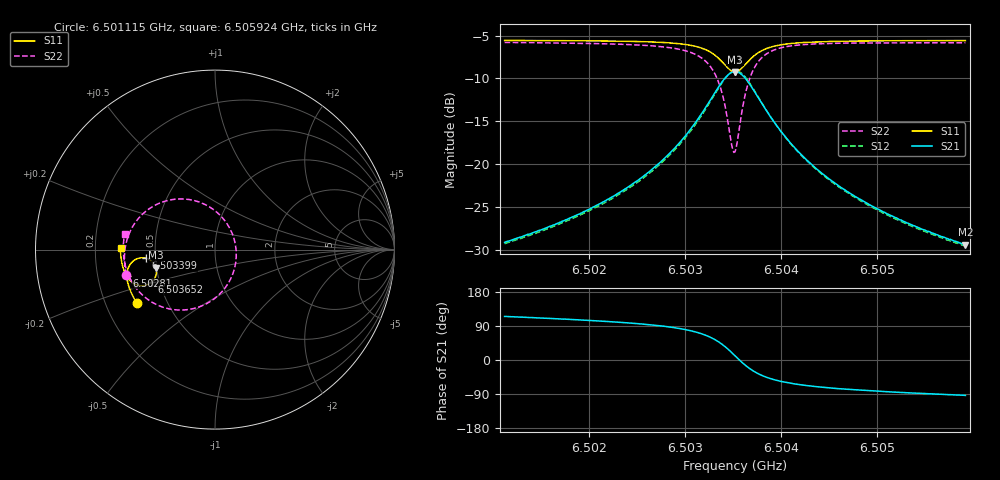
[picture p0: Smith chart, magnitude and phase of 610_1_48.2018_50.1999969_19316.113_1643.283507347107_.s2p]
#  HZ  S  RI  R  50.00
! Rohde & Schwarz Vector Network Analyzer
! Rohde-Schwarz,ZNB20-2Port,1311601062101988,3.16
! Created: UTC 3/20/2024, 12:03:21 PM
! freq[Hz]  re:S11  im:S11  re:S21  im:S21  re:S12  im:S12  re:S22  im:S22
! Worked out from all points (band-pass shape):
!   401 points, 6.501115 GHz to 6.505924 GHz, reference 50 ohm
!   highest |S21| = -9.20 dB at 6.503519 GHz (marker M1); lowest = -29.4 dB at 6.505924 GHz (marker M2)
!   |S21| within 3 dB of the highest: 6.50328 GHz to 6.50376 GHz (480.3 kHz wide, 0.00739 % of centre)
!   lowest |S11| = -9.2 dB at 6.503519 GHz (marker M3), VSWR 2.05, Z = 24.8 - j5.66 ohm
!   |S11| at or under -10 dB: nowhere
!   |S22| runs from -18.6 to -5.8 dB; largest |S21 - S12| = 0.012
!   S11 on the Smith chart (normalised r, x): 6.501115 GHz: 0.34, -0.28; 6.50281 GHz: 0.33, -0.13; 6.503399 GHz: 0.44, -0.05; 6.503652 GHz: 0.45, -0.19; 6.505924 GHz: 0.31, +0.01
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6.5011145e9  -0.4338 -0.2992  -0.0147 0.0317  -0.0131 0.0318  -0.4937 -0.1409
6.5019201e9  -0.4676 -0.2383  -0.0138 0.0501  -0.0114 0.0498  -0.5043 -0.0527
6.5023409e9  -0.4818 -0.2  -0.011 0.0689  -0.00798 0.0678  -0.5004 0.00888
6.5027257e9  -0.4903 -0.1563  -0.000953 0.101  0.00267 0.0987  -0.4783 0.0889
6.5028099e9  -0.4906 -0.1446  0.00394 0.1118  0.00776 0.1088  -0.4675 0.112
6.5030143e9  -0.486 -0.1104  0.027 0.1468  0.0307 0.1425  -0.4196 0.1812
6.5031586e9  -0.4714 -0.0804  0.0652 0.1812  0.068 0.1753  -0.3456 0.2408
6.5033028e9  -0.4326 -0.0506  0.1486 0.2103  0.1494 0.2042  -0.1936 0.2823
6.5033509e9  -0.4109 -0.0457  0.1921 0.209  0.1923 0.2035  -0.1174 0.2736
6.503399e9  -0.3849 -0.048  0.242 0.1935  0.2423 0.1891  -0.0318 0.2386
6.5034832e9  -0.3409 -0.078  0.3223 0.1172  0.3252 0.1132  0.0965 0.0882
6.5035193e9  -0.3298 -0.1007  0.3403 0.0673  0.3445 0.0619  0.1179 -0.00572
6.5035433e9  -0.3266 -0.1176  0.3438 0.0316  0.3484 0.025  0.1156 -0.0709
6.5035794e9  -0.3288 -0.1423  0.3363 -0.0197  0.3403 -0.0289  0.0875 -0.1622
6.5036515e9  -0.3516 -0.1805  0.2883 -0.0981  0.2887 -0.1099  -0.0257 -0.2888
6.5037477e9  -0.3935 -0.2008  0.208 -0.1422  0.2032 -0.153  -0.1894 -0.3368
6.503904e9  -0.4439 -0.1934  0.1176 -0.1414  0.1105 -0.1472  -0.3532 -0.2917
6.5040724e9  -0.4736 -0.1721  0.0687 -0.1199  0.0622 -0.1225  -0.4328 -0.2232
6.5043249e9  -0.4961 -0.1406  0.0351 -0.0925  0.0302 -0.0931  -0.4813 -0.1441
6.5047096e9  -0.5127 -0.0994  0.0148 -0.0666  0.0113 -0.0662  -0.505 -0.0637
6.5051305e9  -0.5214 -0.0598  0.00523 -0.0503  0.00289 -0.0498  -0.5109 -0.00201
6.505924e9  -0.5265 0.00809  -0.00203 -0.0338  -0.00332 -0.0331  -0.504 0.0846
